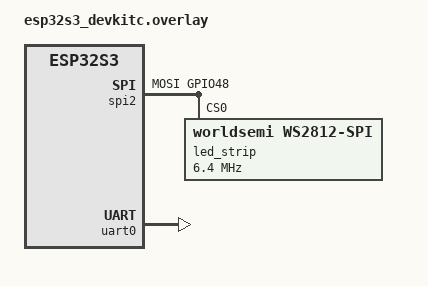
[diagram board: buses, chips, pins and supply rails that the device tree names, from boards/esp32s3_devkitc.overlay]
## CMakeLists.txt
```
cmake_minimum_required(VERSION 3.20.0)

list(APPEND BOARD_ROOT ${CMAKE_CURRENT_SOURCE_DIR})
find_package(Zephyr REQUIRED HINTS $ENV{ZEPHYR_BASE})
project(l04_device_tree)

add_subdirectory(drivers/spas_driver)
target_sources(app PRIVATE src/main.cpp)
```

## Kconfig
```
menuconfig LED_SUBSYSTEM
    bool "LED subsystem"
    default y

if LED_SUBSYSTEM

choice
    prompt "LED blink sleep time"
    default BLINK_SLEEP_1000MS

config BLINK_SLEEP_250MS
    bool "Very fast"

config BLINK_SLEEP_500MS
    bool "Fast"

config BLINK_SLEEP_1000MS
    bool "Medium"

config BLINK_SLEEP_2000MS
    bool "Slow"

endchoice

choice
    prompt "LED color"
    default LED_RED

config LED_GREEN
    bool "Green"

config LED_BLUE
    bool "Blue"

config LED_RED
    bool "Red"

endchoice

config BLINK_SLEEP_TIME_MS
    int 
    default 250 if BLINK_SLEEP_250MS
    default 1000 if BLINK_SLEEP_1000MS
    default 2000 if BLINK_SLEEP_2000MS
    default 1000
    help
        Time between LED toggles in milliseconds.

menuconfig ADV_LED
    bool "Advanced subsytem"

if ADV_LED
config LED_BRIGHTNESS
    int "LED brightness"
    default 100
    range 0 100

config LED_FADE_MS
    int "LED fade duration"
    default 500
    range 0 5000

menu "Expert settings"
    visible if ADV_LED
config LED_DEBUG
    bool "Enable LED debugging"

config LED_PATTERN
    bool "Custom patterns"
# TODO: custom patterns
endmenu

endif

endif #LED_SUBSYSTEM

config LED_HEARTBEAT_PERIOD_MS
    int "LED heartbeat period"
    range 100 2000
    default 500
    
rsource "drivers/spas_driver/Kconfig"
source "Kconfig.zephyr"
```

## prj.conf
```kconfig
CONFIG_GPIO=y

CONFIG_LED_STRIP=y
CONFIG_SPI=y
CONFIG_WS2812_STRIP_SPI=y

# WTF: dont need everything for USB CDC ACM, but it is what it is
CONFIG_USB_DEVICE_STACK_NEXT=y
CONFIG_USBD_CDC_ACM_CLASS=y
CONFIG_CDC_ACM_SERIAL_INITIALIZE_AT_BOOT=y
CONFIG_CDC_ACM_SERIAL_PID=0x0004
CONFIG_CDC_ACM_SERIAL_PRODUCT_STRING="USBD console sample"
CONFIG_SERIAL=y
CONFIG_CONSOLE=y
CONFIG_UART_CONSOLE=y
CONFIG_STDOUT_CONSOLE=y

# CONFIG_USB_DEVICE_MANUFACTURER="Espressif"
# CONFIG_USB_DEVICE_PRODUCT="Zephyr CDC ACM"

CONFIG_LOG=y

# Iomico lecture 4 homework task dummy config
# LED Subsystem
CONFIG_LED_SUBSYSTEM=y

# Advanced LED features
CONFIG_ADV_LED=y
CONFIG_LED_BRIGHTNESS=100
CONFIG_LED_FADE_MS=500

CONFIG_BLINK_SLEEP_250MS=y

# openocd
CONFIG_BUILD_OUTPUT_HEX=y
```

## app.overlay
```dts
#include <zephyr/dt-bindings/led/led.h>
#include <zephyr/dt-bindings/gpio/gpio.h>
#include <espressif/esp32s3/esp32s3_common.dtsi>

/{
    aliases {
        app-led = &led0;    
    };

    leds {
        compatible = "gpio-leds";
        led0: led_0 {
            gpios = <&gpio0 10 GPIO_ACTIVE_HIGH>;
            label = "Heartbeat LED";
        };
    };
};
```

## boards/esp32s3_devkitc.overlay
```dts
#include <zephyr/dt-bindings/led/led.h>

/ {
    chosen {
        zephyr,console    = &uart0;
        zephyr,shell-uart = &uart0;
    };

    aliases {
        led-strip = &led_strip;
    };
};

&spi2 {
    status = "okay";
    pinctrl-0 = <&spim2_default>;
    pinctrl-names = "default";

    led_strip: ws2812@0 {
        compatible = "worldsemi,ws2812-spi";
        reg = <0>;
        spi-max-frequency = <6400000>;
        chain-length = <1>;
        color-mapping = <LED_COLOR_ID_GREEN
                         LED_COLOR_ID_RED
                         LED_COLOR_ID_BLUE>;
        spi-one-frame = <0x78>;
        spi-zero-frame = <0x60>;
    };
};

&pinctrl {
    spim2_default: spim2_default {
        group1 {
            pinmux = <SPIM2_MOSI_GPIO48>;
        };
    };
};

&uart0{
    status = "okay";
};

// &zephyr_udc0 {
//     status = "okay";
//     cdc_acm_uart0: cdc_acm_uart0 {
//         compatible = "zephyr,cdc-acm-uart";
//     };
// };
```

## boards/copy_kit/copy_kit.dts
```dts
/*
 * Copyright (c) 2024-2025 Espressif Systems (Shanghai) Co., Ltd.
 *
 * SPDX-License-Identifier: Apache-2.0
 */
/dts-v1/;

#include <espressif/esp32s3/esp32s3_wroom_n16r8.dtsi>
#include <zephyr/dt-bindings/input/input-event-codes.h>
#include <zephyr/dt-bindings/input/esp32-touch-sensor-input.h>
#include <espressif/partitions_0x0_amp.dtsi>
#include "esp32s3_devkitc-pinctrl.dtsi"

/ {
	model = "Espressif Copy Kit PROCPU";
	compatible = "spas-tech,copy-kit";

	aliases {
		i2c-0 = &i2c0;
		watchdog0 = &wdt0;
	};

	chosen {
		zephyr,sram = &sram1;
		zephyr,console = &uart0;
		zephyr,shell-uart = &uart0;
		zephyr,flash = &flash0;
		zephyr,code-partition = &slot0_partition;
		zephyr,bt-hci = &esp32_bt_hci;
	};

	aliases {
		uart-0 = &uart0;
		sw0 = &button0;
	};

	buttons {
		compatible = "gpio-keys";

		button0: button_0 {
			gpios = <&gpio0 0 (GPIO_PULL_UP | GPIO_ACTIVE_LOW)>;
			label = "BOOT Button";
			zephyr,code = <INPUT_KEY_0>;
		};
	};
};

&usb_serial {
	status = "disabled";
};

&uart0 {
	status = "okay";
	current-speed = <115200>;
	pinctrl-0 = <&uart0_default>;
	pinctrl-names = "default";
};

&gpio0 {
	status = "okay";
};

&gpio1 {
	status = "okay";
};

&touch {
	debounce-interval-ms = <30>;
	href-microvolt = <2700000>;
	lref-microvolt = <500000>;
	href-atten-microvolt = <1000000>;
	filter-mode = <ESP32_TOUCH_FILTER_MODE_IIR_16>;
	filter-debounce-cnt = <1>;
	filter-noise-thr = <ESP32_TOUCH_FILTER_NOISE_THR_4_8TH>;
	filter-jitter-step = <4>;
	filter-smooth-level = <ESP32_TOUCH_FILTER_SMOOTH_MODE_IIR_2>;
};

&i2c0 {
	clock-frequency = <I2C_BITRATE_STANDARD>;
	pinctrl-0 = <&i2c0_default>;
	pinctrl-names = "default";
};

&spi2 {
	#address-cells = <1>;
	#size-cells = <0>;
	pinctrl-0 = <&spim2_default>;
	pinctrl-names = "default";
};

&spi3 {
	#address-cells = <1>;
	#size-cells = <0>;
	pinctrl-0 = <&spim3_default>;
	pinctrl-names = "default";
};

&trng0 {
	status = "okay";
};

&wdt0 {
	status = "okay";
};
```

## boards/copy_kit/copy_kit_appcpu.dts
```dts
/*
 * Copyright (c) 2024-2025 Espressif Systems (Shanghai) Co., Ltd.
 *
 * SPDX-License-Identifier: Apache-2.0
 */
/dts-v1/;

#include <espressif/esp32s3/esp32s3_wroom_n16r8.dtsi>
#include <espressif/partitions_0x0_amp.dtsi>
#include "esp32s3_devkitc-pinctrl.dtsi"

/ {
	model = "Espressif Copy Kit APPCPU";
	compatible = "espressif,copy_kit", "espressif,esp32s3";

	chosen {
		zephyr,sram = &sram1;
		zephyr,ipc_shm = &shm0;
		zephyr,ipc = &ipm0;
		zephyr,flash = &flash0;
		zephyr,code-partition = &slot0_appcpu_partition;
	};
};

&trng0 {
	status = "okay";
};

&ipm0 {
	status = "okay";
};
```

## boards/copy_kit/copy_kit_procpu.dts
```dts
/*
 * Copyright (c) 2024-2025 Espressif Systems (Shanghai) Co., Ltd.
 *
 * SPDX-License-Identifier: Apache-2.0
 */
/dts-v1/;

#include <espressif/esp32s3/esp32s3_wroom_n16r8.dtsi>
#include <zephyr/dt-bindings/input/input-event-codes.h>
#include <zephyr/dt-bindings/input/esp32-touch-sensor-input.h>
#include <espressif/partitions_0x0_amp.dtsi>
#include "esp32s3_devkitc-pinctrl.dtsi"

/ {
	model = "Espressif Copy Kit PROCPU";
	compatible = "espressif,copy_kit", "espressif,esp32s3";

	aliases {
		i2c-0 = &i2c0;
		watchdog0 = &wdt0;
	};

	chosen {
		zephyr,sram = &sram1;
		zephyr,console = &uart0;
		zephyr,shell-uart = &uart0;
		zephyr,flash = &flash0;
		zephyr,code-partition = &slot0_partition;
		zephyr,bt-hci = &esp32_bt_hci;
	};

	aliases {
		uart-0 = &uart0;
		sw0 = &button0;
	};

	buttons {
		compatible = "gpio-keys";

		button0: button_0 {
			gpios = <&gpio0 0 (GPIO_PULL_UP | GPIO_ACTIVE_LOW)>;
			label = "BOOT Button";
			zephyr,code = <INPUT_KEY_0>;
		};
	};
};

&usb_serial {
	status = "disabled";
};

&uart0 {
	status = "okay";
	current-speed = <115200>;
	pinctrl-0 = <&uart0_default>;
	pinctrl-names = "default";
};

&gpio0 {
	status = "okay";
};

&gpio1 {
	status = "okay";
};

&touch {
	debounce-interval-ms = <30>;
	href-microvolt = <2700000>;
	lref-microvolt = <500000>;
	href-atten-microvolt = <1000000>;
	filter-mode = <ESP32_TOUCH_FILTER_MODE_IIR_16>;
	filter-debounce-cnt = <1>;
	filter-noise-thr = <ESP32_TOUCH_FILTER_NOISE_THR_4_8TH>;
	filter-jitter-step = <4>;
	filter-smooth-level = <ESP32_TOUCH_FILTER_SMOOTH_MODE_IIR_2>;
};

&i2c0 {
	clock-frequency = <I2C_BITRATE_STANDARD>;
	pinctrl-0 = <&i2c0_default>;
	pinctrl-names = "default";
};

&spi2 {
	#address-cells = <1>;
	#size-cells = <0>;
	pinctrl-0 = <&spim2_default>;
	pinctrl-names = "default";
};

&spi3 {
	#address-cells = <1>;
	#size-cells = <0>;
	pinctrl-0 = <&spim3_default>;
	pinctrl-names = "default";
};

&trng0 {
	status = "okay";
};

&wdt0 {
	status = "okay";
};
```

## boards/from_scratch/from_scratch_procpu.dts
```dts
/*
 * Copyright (c) 2024-2025 Espressif Systems (Shanghai) Co., Ltd.
 *
 * SPDX-License-Identifier: Apache-2.0
 */
/dts-v1/;

#include <espressif/esp32s3/esp32s3_wroom_n16r8.dtsi>
#include <zephyr/dt-bindings/input/input-event-codes.h>
#include <zephyr/dt-bindings/input/esp32-touch-sensor-input.h>
#include <espressif/partitions_0x0_amp.dtsi>
#include "from_scratch-pinctrl.dtsi"

/ {
	model = "Espressif Copy Kit PROCPU";
	compatible = "spas-tech,copy-kit";

	aliases {
		i2c-0 = &i2c0;
		watchdog0 = &wdt0;
	};

	chosen {
		zephyr,sram = &sram1;
		zephyr,console = &uart0;
		zephyr,shell-uart = &uart0;
		zephyr,flash = &flash0;
		zephyr,code-partition = &slot0_partition;
		zephyr,bt-hci = &esp32_bt_hci;
	};

	aliases {
		uart-0 = &uart0;
		sw0 = &button0;
	};

	buttons {
		compatible = "gpio-keys";

		button0: button_0 {
			gpios = <&gpio0 0 (GPIO_PULL_UP | GPIO_ACTIVE_LOW)>;
			label = "BOOT Button";
			zephyr,code = <INPUT_KEY_0>;
		};
	};
};

&usb_serial {
	status = "disabled";
};

&uart0 {
	status = "okay";
	current-speed = <115200>;
	pinctrl-0 = <&uart0_default>;
	pinctrl-names = "default";
};

&gpio0 {
	status = "okay";
};

&gpio1 {
	status = "okay";
};

&touch {
	debounce-interval-ms = <30>;
	href-microvolt = <2700000>;
	lref-microvolt = <500000>;
	href-atten-microvolt = <1000000>;
	filter-mode = <ESP32_TOUCH_FILTER_MODE_IIR_16>;
	filter-debounce-cnt = <1>;
	filter-noise-thr = <ESP32_TOUCH_FILTER_NOISE_THR_4_8TH>;
	filter-jitter-step = <4>;
	filter-smooth-level = <ESP32_TOUCH_FILTER_SMOOTH_MODE_IIR_2>;
};

&i2c0 {
	clock-frequency = <I2C_BITRATE_STANDARD>;
	pinctrl-0 = <&i2c0_default>;
	pinctrl-names = "default";
};

&i2c1 {
	clock-frequency = <I2C_BITRATE_STANDARD>;
	pinctrl-0 = <&i2c1_default>;
	pinctrl-names = "default";
};

&spi2 {
	#address-cells = <1>;
	#size-cells = <0>;
	pinctrl-0 = <&spim2_default>;
	pinctrl-names = "default";
};

&spi3 {
	#address-cells = <1>;
	#size-cells = <0>;
	pinctrl-0 = <&spim3_default>;
	pinctrl-names = "default";
};

&i2s0 {
	pinctrl-0 = <&i2s0_default>;
	pinctrl-names = "default";
};

&i2s1 {
	pinctrl-0 = <&i2s1_default>;
	pinctrl-names = "default";
};

&trng0 {
	status = "okay";
};

&wdt0 {
	status = "okay";
};
```

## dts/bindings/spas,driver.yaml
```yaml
description: Lecture 6 homework
compatible: "spas,driver"
include: base.yaml

properties:
  calibration:
    type: int
    required: true
  gpios:
    type: phandle-array
    required: true
```

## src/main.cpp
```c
#include <sys/types.h>
#include <zephyr/kernel.h>
#include <zephyr/device.h>
#include <zephyr/drivers/led_strip.h>
#include <zephyr/drivers/gpio.h>
#include <zephyr/sys/util.h>
#include <zephyr/logging/log.h>
#include <zephyr/autoconf.h>

// Get the device pointer for the LED strip from the devicetree alias
#define LED_NODE DT_ALIAS(led_strip)
static const struct device *led_strip = DEVICE_DT_GET(LED_NODE);

// Define a pixel buffer for one LED (GRB order)
static led_rgb pixel_struct = {.r = 0x00, .g = 0x00, .b = 0x00 }; // Blue, Red, Green

u_int32_t delay = CONFIG_BLINK_SLEEP_TIME_MS;

LOG_MODULE_REGISTER(main, LOG_LEVEL_INF);

#if CONFIG_LED_RED
    static struct led_rgb color = {.r = (0xFF), .g = (0x00), .b = (0x00)};
#elif CONFIG_LED_GREEN
    static struct led_rgb color = {.r = (0x00), .g = (0xFF), .b = (0x00)};
#elif CONFIG_LED_BLUE
    static struct led_rgb color = {.r = (0x00), .g = (0x00), .b = (0xFF)};
#endif

#define APP_LED_NODE DT_ALIAS(app_led)
static const struct gpio_dt_spec heartbeat_led = GPIO_DT_SPEC_GET(APP_LED_NODE, gpios);

static struct led_rgb scale_brightness(struct led_rgb curr, uint8_t brightness)
{
    return (struct led_rgb){
        .r = (uint8_t)((curr.r * brightness) / 255),
        .g = (uint8_t)((curr.g * brightness) / 255),
        .b = (uint8_t)((curr.b * brightness) / 255)
    };
}

void fade_led()
{
    int step_delay = CONFIG_LED_FADE_MS / CONFIG_LED_BRIGHTNESS;

    for (int i = 0; i < CONFIG_LED_BRIGHTNESS; i++) {
        pixel_struct = scale_brightness(color, CONFIG_LED_BRIGHTNESS - i);
        led_strip_update_rgb(led_strip, &pixel_struct, 1);
        k_msleep(step_delay);
    }

    pixel_struct = (struct led_rgb){ .r = 0x00, .g = 0x00, .b = 0x00 };
    led_strip_update_rgb(led_strip, &pixel_struct, 1);
}

/**
 * @brief Toggle the heartbeat LED at a regular interval to indicate the system 
          is alive. Iomico lecture 4 homework task.
 * 
 */
void heartbeat()
{
    if (!device_is_ready(heartbeat_led.port)) {
        return;
    }

    if (gpio_pin_configure_dt(&heartbeat_led, GPIO_OUTPUT_ACTIVE)) {
        return;
    }

    while (1) {
        gpio_pin_toggle_dt(&heartbeat_led);
        LOG_INF("Heartbeat: System is alive.\n");
        k_msleep(CONFIG_LED_HEARTBEAT_PERIOD_MS);
    }
}

int main(void)
{
    int ret;

    // Verify the LED strip device is ready
    if (!device_is_ready(led_strip)) {
        return 0;
    }

    printk("Hearbeat LED configured on GPIO pin %d\n", heartbeat_led.pin);
    heartbeat();

    while (1) {
        
#if CONFIG_ADV_LED
        fade_led();
#if CONFIG_LED_DEBUG
        LOG_INF("LED faded out, going to sleep.\n");
#endif
        k_msleep(delay);
#else      
        /* Circle through Red, Green, and Blue colors with the configured brightness level. */

        LOG_INF("LED brightness: %d %\n", CONFIG_LED_BRIGHTNESS);
        // Set LED to Red
        pixel_struct = scale_brightness((struct led_rgb){.r = 0x8F, .g = 0x00, .b = 0x00}, CONFIG_LED_BRIGHTNESS);
        LOG_INF("RED value: %X\n", pixel_struct.r);
        ret = led_strip_update_rgb(led_strip, &pixel_struct, 1);
        LOG_INF("LED state: Red\n");

        
        if (ret) {
            return 0;
        }
        k_msleep(delay);

        // Set LED to Green
        pixel_struct = scale_brightness((struct led_rgb){.r = 0x00, .g = 0x87, .b = 0x00}, CONFIG_LED_BRIGHTNESS); 

        ret = led_strip_update_rgb(led_strip, &pixel_struct, 1);
        LOG_INF("LED state: Green\n");

        if (ret) {
            return 0;
        }
        k_msleep(delay);

        // Set LED to Blue
        pixel_struct = scale_brightness((struct led_rgb){.r = 0x00, .g = 0x00, .b = 0x8F}, CONFIG_LED_BRIGHTNESS);

        ret = led_strip_update_rgb(led_strip, &pixel_struct, 1);
        LOG_INF("LED state: Blue\n");
        
        if (ret) {
            return 0;
        }

        k_msleep(delay);
#endif
    }

    return 0;
}
```
